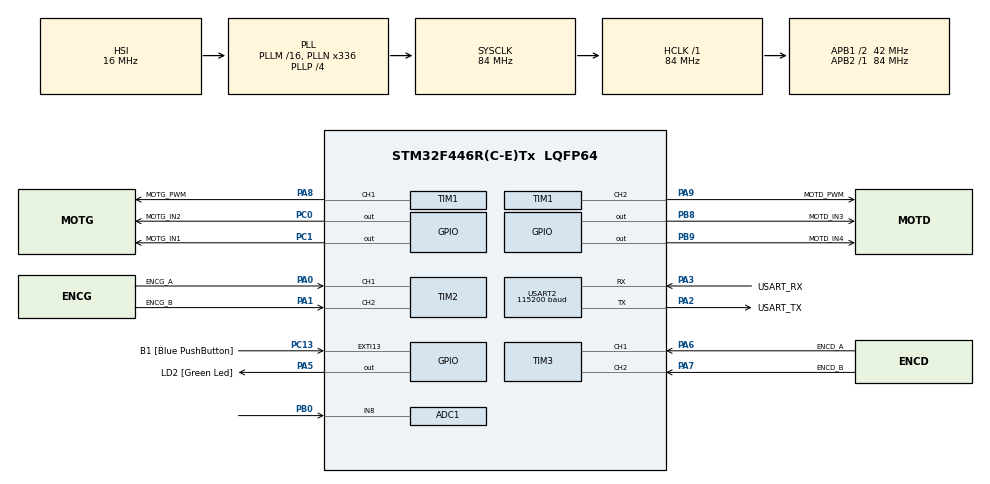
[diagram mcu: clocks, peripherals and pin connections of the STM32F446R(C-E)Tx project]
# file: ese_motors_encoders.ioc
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ADC1.Channel-0\#ChannelRegularConversion=ADC_CHANNEL_8
ADC1.ContinuousConvMode=ENABLE
ADC1.DMAContinuousRequests=DISABLE
ADC1.EOCSelection=ADC_EOC_SEQ_CONV
ADC1.NbrOfConversionFlag=1
ADC1.Rank-0\#ChannelRegularConversion=1
ADC1.SamplingTime-0\#ChannelRegularConversion=ADC_SAMPLETIME_3CYCLES
ADC1.master=1
Mcu.Family=STM32F4
Mcu.Name=STM32F446R(C-E)Tx
Mcu.Package=LQFP64
NVIC.ADC_IRQn=true\:0\:0\:false\:false\:true\:true\:true
NVIC.EXTI15_10_IRQn=true\:0\:0\:false\:false\:true\:true\:true
NVIC.PriorityGroup=NVIC_PRIORITYGROUP_0
NVIC.TIM6_DAC_IRQn=true\:0\:0\:false\:false\:true\:true\:true
NVIC.USART2_IRQn=true\:0\:0\:false\:false\:true\:true\:true
PA0-WKUP.GPIO_Label=ENCG_A
PA0-WKUP.Signal=S_TIM2_CH1_ETR
PA1.GPIO_Label=ENCG_B
PA1.Signal=S_TIM2_CH2
PA13.GPIO_Label=TMS
PA13.Mode=Serial_Wire
PA13.Signal=SYS_JTMS-SWDIO
PA14.GPIO_Label=TCK
PA14.Mode=Serial_Wire
PA14.Signal=SYS_JTCK-SWCLK
PA2.GPIO_Label=USART_TX
PA2.Mode=Asynchronous
PA2.Signal=USART2_TX
PA3.GPIO_Label=USART_RX
PA3.Mode=Asynchronous
PA3.Signal=USART2_RX
PA5.GPIO_Label=LD2 [Green Led]
PA5.Signal=GPIO_Output
PA6.GPIO_Label=ENCD_A
PA6.Signal=S_TIM3_CH1
PA7.GPIO_Label=ENCD_B
PA7.Signal=S_TIM3_CH2
PA8.GPIO_Label=MOTG_PWM
PA8.Signal=S_TIM1_CH1
PA9.GPIO_Label=MOTD_PWM
PA9.Signal=S_TIM1_CH2
PB0.Signal=ADCx_IN8
PB3.GPIO_Label=SWO
PB3.Signal=SYS_JTDO-SWO
PB8.GPIO_Label=MOTD_IN3
PB8.Signal=GPIO_Output
PB9.GPIO_Label=MOTD_IN4
PB9.Signal=GPIO_Output
PC0.GPIO_Label=MOTG_IN2
PC0.Signal=GPIO_Output
PC1.GPIO_Label=MOTG_IN1
PC1.Signal=GPIO_Output
PC13.GPIO_Label=B1 [Blue PushButton]
PC13.GPIO_ModeDefaultEXTI=GPIO_MODE_IT_FALLING
PC13.Signal=GPXTI13
PC14-OSC32_IN.Mode=LSE-External-Oscillator
PC14-OSC32_IN.Signal=RCC_OSC32_IN
PC15-OSC32_OUT.Mode=LSE-External-Oscillator
PC15-OSC32_OUT.Signal=RCC_OSC32_OUT
PH0-OSC_IN.Mode=HSE-External-Oscillator
PH0-OSC_IN.Signal=RCC_OSC_IN
PH1-OSC_OUT.Mode=HSE-External-Oscillator
PH1-OSC_OUT.Signal=RCC_OSC_OUT
ProjectManager.HeapSize=0x200
ProjectManager.StackSize=0x400
ProjectManager.TargetToolchain=STM32CubeIDE
RCC.48MHZClocksFreq_Value=84000000
RCC.AHBFreq_Value=84000000
RCC.APB1CLKDivider=RCC_HCLK_DIV2
RCC.APB1Freq_Value=42000000
RCC.APB1TimFreq_Value=84000000
RCC.APB2Freq_Value=84000000
RCC.APB2TimFreq_Value=84000000
RCC.CortexFreq_Value=84000000
RCC.FLatency-AdvancedSettings=FLASH_LATENCY_2
RCC.HCLKFreq_Value=84000000
RCC.HSE_VALUE=8000000
RCC.HSI_VALUE=16000000
RCC.PLLN=336
RCC.PLLP=RCC_PLLP_DIV4
RCC.SYSCLKFreq_VALUE=84000000
RCC.SYSCLKSource=RCC_SYSCLKSOURCE_PLLCLK
RCC.USBFreq_Value=168000000
RCC.VCOOutputFreq_Value=336000000
SH.ADCx_IN8.0=ADC1_IN8,IN8
SH.S_TIM1_CH1.0=TIM1_CH1,PWM Generation1 CH1
SH.S_TIM1_CH2.0=TIM1_CH2,PWM Generation2 CH2
SH.S_TIM2_CH1_ETR.0=TIM2_CH1,Encoder_Interface
SH.S_TIM2_CH2.0=TIM2_CH2,Encoder_Interface
SH.S_TIM3_CH1.0=TIM3_CH1,Encoder_Interface
SH.S_TIM3_CH2.0=TIM3_CH2,Encoder_Interface
TIM1.Channel-PWM\ Generation1\ CH1=TIM_CHANNEL_1
TIM1.Channel-PWM\ Generation2\ CH2=TIM_CHANNEL_2
TIM1.OCFastMode_PWM-PWM\ Generation1\ CH1=TIM_OCFAST_DISABLE
TIM1.Period=3360-1
TIM1.Prescaler=0
TIM1.Pulse-PWM\ Generation1\ CH1=0
TIM2.AutoReloadPreload=TIM_AUTORELOAD_PRELOAD_ENABLE
TIM2.EncoderMode=TIM_ENCODERMODE_TI12
TIM2.IC1Filter=10
TIM2.IC2Filter=10
TIM3.IC1Filter=10
TIM3.IC2Filter=10
TIM6.Period=200
TIM6.Prescaler=8400-1
USART2.BaudRate=115200
USART2.VirtualMode=VM_ASYNC
VP_TIM1_VS_ClockSourceINT.Mode=Internal
VP_TIM6_VS_ClockSourceINT.Mode=Enable_Timer
board=NUCLEO-F446RE

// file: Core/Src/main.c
/* USER CODE BEGIN Header */
/**
 ******************************************************************************
 * @file           : main.c
 * @brief          : Main program body
 ******************************************************************************
 * @attention
 *
 * <h2><center>&copy; Copyright (c) 2021 STMicroelectronics.
 * All rights reserved.</center></h2>
 *
 * This software component is licensed by ST under BSD 3-Clause license,
 * the "License"; You may not use this file except in compliance with the
 * License. You may obtain a copy of the License at:
 *                        opensource.org/licenses/BSD-3-Clause
 *
 ******************************************************************************
 */
/* USER CODE END Header */
#include "main.h"
#include "adc.h"
#include "tim.h"
#include "usart.h"
#include "gpio.h"

/* USER CODE BEGIN Includes */
#include "stdio.h"
#include "stdlib.h"
#include <BOTterfly-H/modules.h>
#include <BOTterfly-H/shell.h>
#include <BOTterfly-H/asserv.h>
#include <BOTterfly-H/motor.h>
/* USER CODE END Includes */

/* USER CODE BEGIN PV */
uint8_t testStart = 0;
uint8_t reglage = 0;
uint32_t cpt = 0;
/* USER CODE END PV */

void SystemClock_Config(void);

/* USER CODE BEGIN 0 */
int fonction(int argc, char ** argv) {
	printf("Une fonction inutile\r\n");

	printf("argc = %d\r\n", argc);

	for (int i = 0 ; i < argc ; i++) {
		printf("arg numero %d = %s\r\n", i, argv[i]);
	}

	return 0;
}

/* USER CODE END 0 */

int main(void)
{

	/* MCU Configuration--------------------------------------------------------*/

	/* Reset of all peripherals, Initializes the Flash interface and the Systick. */
	HAL_Init();

	/* Configure the system clock */
	SystemClock_Config();

	/* Initialize all configured peripherals */
	MX_GPIO_Init();
	MX_USART2_UART_Init();
	MX_TIM1_Init();
	MX_TIM2_Init();
	MX_TIM6_Init();
	MX_ADC1_Init();
	MX_TIM3_Init();
	/* USER CODE BEGIN 2 */

	/* Initialisation du shell ---------------------------------------------------*/

	shell_init(&huart2);
	shell_add("f", fonction, "Une fonction inutile");

	/* Fin initialisation du shell -----------------------------------------------*/

	/* Initialisation des moteurs ------------------------------------------------*/

	/* Moteur Gauche */
	MOT_InitTimer(&MoteurGauche, &htim1, TIM_CHANNEL_1); // PA8 / D7
	MOT_InitGPIOs(&MoteurGauche, GPIOC, GPIO_PIN_1, GPIOC, GPIO_PIN_0); // IN1:PC0 et IN2:PC1
	MOT_SetCoeff(&MoteurGauche, 0.01, 0);
	MOT_SetDirection(&MoteurGauche, MOT_FUNCTIONS_FORWARD);
	MOT_SetDutyCycle(&MoteurGauche, 0); // 66
	//HAL_ADC_Start_IT(&hadc1);

	/* Moteur Droite */
	MOT_InitTimer(&MoteurDroite, &htim1, TIM_CHANNEL_2); // PA9 / D8
	MOT_InitGPIOs(&MoteurDroite, GPIOB, GPIO_PIN_8, GPIOB, GPIO_PIN_9); // IN1:PB8 et IN2:PB9
	MOT_SetCoeff(&MoteurDroite, 0.01, 0);
	MOT_SetDirection(&MoteurDroite, MOT_FUNCTIONS_FORWARD);
	MOT_SetDutyCycle(&MoteurDroite, 0);

	/* Fin initialisation des moteurs --------------------------------------------*/

	/* Initialisation des encodeurs ----------------------------------------------*/

	/* Encodeur Gauche */
	ENC_InitTimer(&CodeurGauche, &htim2, TIM_CHANNEL_1, TIM_CHANNEL_2); // PhA:PA0 et PhB:PA1
	ENC_SetTicksPerRev(&CodeurGauche, 1364.8);
	CodeurGauche.TicksCoeff = 0.085430;

	/* Encodeur Droite */
	ENC_InitTimer(&CodeurDroite, &htim3, TIM_CHANNEL_1, TIM_CHANNEL_2); // PhA:PA6 et PhB:PA7
	ENC_SetTicksPerRev(&CodeurDroite, 1364.8);
	CodeurDroite.TicksCoeff = 0.084198;

	/* Fin initialisation des encodeurs ------------------------------------------*/

	// Initialisation de l'asservissement
	Ctrl_Init_SetTimer(&Asserv, &htim6);
	Odo_Init(&Odometry);

	reglage = 0;
	testStart = 0;

	int16_t ticksGauche = 0;
	int16_t ticksDroite = 0;

	/* USER CODE END 2 */

	/* Infinite loop */
	/* USER CODE BEGIN WHILE */
	while (1)
	{
		//int i = ENC_GetCnt(&CodeurGauche);
		//printf("cpt = %d\r\n",cpt);
		//printf("Ticks = %d\r\n",i);
		//printf("%d\r\n",i);
		//printf("%f\r\n",(float)DISTANCE_PER_TICK);

		if(testStart){
			/*
			//MOT_SetDutyCycle(&MoteurGauche, 70);
			//MOT_SetDutyCycle(&MoteurDroite, 70);
			HAL_Delay(2500);
			testStart = 0;
			acc = 0;
			MOT_SetDutyCycle(&MoteurGauche, 0);
			MOT_SetDutyCycle(&MoteurDroite, 0);

			ticksGauche = ENC_GetCnt(&CodeurGauche);
			ticksDroite = ENC_GetCnt(&CodeurDroite);
			printf("G: %d\t D: %d\r\n",ticksGauche,ticksDroite);
			 */

		}

		//printf("G: %d\t D: %d\r\n",ticksGauche,ticksDroite);

		/*
		if(reglage){
			HAL_Delay(1650);
			MOT_SetDutyCycle(&MoteurGauche, 0);
			MOT_SetDutyCycle(&MoteurDroite, 0);
			HAL_Delay(1000);
			int16_t ticksGauche = ENC_GetCnt(&CodeurGauche);
			int16_t ticksDroite = ENC_GetCnt(&CodeurDroite);
			printf("G: %d\t D: %d\r\n",ticksGauche,ticksDroite);
			reglage = 0;
		}
		*/

		//HAL_Delay(1000);

		/* USER CODE END WHILE */

	}
}

void SystemClock_Config(void)
{
	RCC_OscInitTypeDef RCC_OscInitStruct = {0};
	RCC_ClkInitTypeDef RCC_ClkInitStruct = {0};

	/** Configure the main internal regulator output voltage
	 */
	__HAL_RCC_PWR_CLK_ENABLE();
	__HAL_PWR_VOLTAGESCALING_CONFIG(PWR_REGULATOR_VOLTAGE_SCALE3);
	/** Initializes the RCC Oscillators according to the specified parameters
	 * in the RCC_OscInitTypeDef structure.
	 */
	RCC_OscInitStruct.OscillatorType = RCC_OSCILLATORTYPE_HSI;
	RCC_OscInitStruct.HSIState = RCC_HSI_ON;
	RCC_OscInitStruct.HSICalibrationValue = RCC_HSICALIBRATION_DEFAULT;
	RCC_OscInitStruct.PLL.PLLState = RCC_PLL_ON;
	RCC_OscInitStruct.PLL.PLLSource = RCC_PLLSOURCE_HSI;
	RCC_OscInitStruct.PLL.PLLM = 16;
	RCC_OscInitStruct.PLL.PLLN = 336;
	RCC_OscInitStruct.PLL.PLLP = RCC_PLLP_DIV4;
	RCC_OscInitStruct.PLL.PLLQ = 2;
	RCC_OscInitStruct.PLL.PLLR = 2;
	if (HAL_RCC_OscConfig(&RCC_OscInitStruct) != HAL_OK)
	{
		Error_Handler();
	}
	/** Initializes the CPU, AHB and APB buses clocks
	 */
	RCC_ClkInitStruct.ClockType = RCC_CLOCKTYPE_HCLK|RCC_CLOCKTYPE_SYSCLK
			|RCC_CLOCKTYPE_PCLK1|RCC_CLOCKTYPE_PCLK2;
	RCC_ClkInitStruct.SYSCLKSource = RCC_SYSCLKSOURCE_PLLCLK;
	RCC_ClkInitStruct.AHBCLKDivider = RCC_SYSCLK_DIV1;
	RCC_ClkInitStruct.APB1CLKDivider = RCC_HCLK_DIV2;
	RCC_ClkInitStruct.APB2CLKDivider = RCC_HCLK_DIV1;

	if (HAL_RCC_ClockConfig(&RCC_ClkInitStruct, FLASH_LATENCY_2) != HAL_OK)
	{
		Error_Handler();
	}
}

/* USER CODE BEGIN 4 */

void HAL_GPIO_EXTI_Callback(uint16_t GPIO_Pin){
	if(GPIO_Pin == GPIO_PIN_13){
		if(testStart == 0) {
			testStart = 1;
			acc = 0;
			printf("Debut du test\r\n");
		}
		else {
			testStart = 0;
			printf("Fin du test\r\n");
		}
	}
}

void HAL_UART_RxCpltCallback(UART_HandleTypeDef* huart){
	if(huart->Instance == USART2){
		shell_char_received();
		HAL_UART_Receive_IT(&huart2, (uint8_t*)&c, 1);
	}
}

void HAL_TIM_PeriodElapsedCallback(TIM_HandleTypeDef *htim){
	if(htim->Instance == TIM6){
		if(testStart == 1){
			float ret_gauche = Ctrl_SpeedControl(&MoteurGauche, &CodeurGauche);
			float ret_droite = Ctrl_SpeedControl(&MoteurDroite, &CodeurDroite);
			//printf("G: %f\t D: %f\r\n",ret_gauche,ret_droite);

			Odometry.leftTicks = ret_gauche;
			Odometry.rightTicks = ret_droite;
			Odo_Odometry(&Odometry);
		}
		else{
			MOT_SetDutyCycle(&MoteurGauche, 0);
			MOT_SetDutyCycle(&MoteurDroite, 0);
		}
	}
}

void HAL_ADC_ConvCpltCallback(ADC_HandleTypeDef* hadc){
	if(hadc->Instance == ADC1){
		//uint32_t val = HAL_ADC_GetValue(&hadc1);
		//printf("val = %ld\r\n", val);
		//HAL_ADC_Start_IT(&hadc1);
	}
}

/* USER CODE END 4 */

void Error_Handler(void)
{
	__disable_irq();
	while (1)
	{
	}
}

/************************ (C) COPYRIGHT STMicroelectronics *****END OF FILE****/
